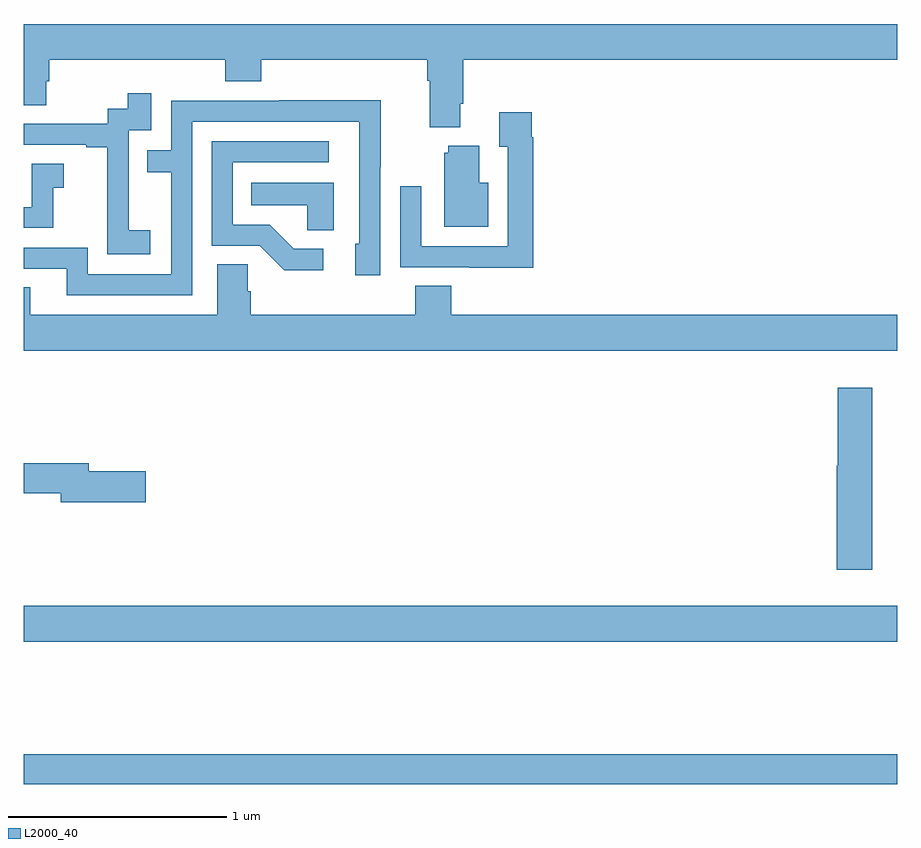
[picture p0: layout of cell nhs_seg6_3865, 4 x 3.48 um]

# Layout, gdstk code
import gdstk
lib = gdstk.Library(unit=1e-6, precision=1e-09)
def R(c, l, rs):  # rectangles x0, y0, x1, y1
    for r in rs: c.add(gdstk.rectangle(r[:2], r[2:], *l))
def P(c, l, *ps):  # polygons
    for p in ps: c.add(gdstk.Polygon(p, *l))
L2000_40 = (2000, 40)

nhs_seg6_3865 = lib.new_cell('nhs_seg6_3865')
R(nhs_seg6_3865, L2000_40, [(339,948.016,343,948.152), (339,948.668,343,948.832)])
P(nhs_seg6_3865, L2000_40, [(339,951.124),(339.103,951.124),(339.103,951.234),(339.116,951.234),(339.116,951.332),(339.923,951.332),(339.923,951.233),(340.088,951.233),(340.088,951.332),(340.847,951.332),(340.847,951.236),(340.859,951.236),(340.859,951.023),(340.999,951.023),(340.999,951.13),(341.012,951.13),(341.012,951.332),(343,951.332),(343,951.496),(339,951.496)],
  [(339.58,950.551),(339.482,950.551),(339.482,950.78),(339.48,950.78),(339.48,951.009),(339.585,951.009),(339.585,951.178),(339.477,951.178),(339.477,951.108),(339.384,951.108),(339.384,951.039),(339,951.039),(339,950.943),(339.287,950.943),(339.287,950.931),(339.383,950.931),(339.383,950.647),(339.382,950.647),(339.382,950.441),(339.58,950.441)],
  [(339.771,951.048),(340.536,951.048),(340.536,950.49),(340.517,950.49),(340.517,950.346),(340.632,950.346),(340.632,950.839),(340.635,950.839),(340.635,951.146),(340.171,951.146),(340.171,951.144),(339.675,951.144),(339.675,950.919),(339.565,950.919),(339.565,950.818),(339.675,950.818),(339.675,950.349),(339.294,950.349),(339.294,950.472),(339,950.472),(339,950.376),(339.197,950.376),(339.197,950.253),(339.771,950.253)],
  [(341.333,950.978),(341.326,950.978),(341.326,951.091),(341.177,951.091),(341.177,950.935),(341.217,950.935),(341.217,950.478),(340.821,950.478),(340.821,950.752),(340.725,950.752),(340.725,950.382),(341.041,950.382),(341.041,950.381),(341.333,950.381)],
  [(340.372,950.466),(340.237,950.466),(340.126,950.577),(339.957,950.577),(339.957,950.862),(340.396,950.862),(340.396,950.958),(339.861,950.958),(339.861,950.481),(340.08,950.481),(340.193,950.369),(340.372,950.369)],
  [(341.128,950.77),(341.086,950.77),(341.086,950.938),(340.943,950.938),(340.943,950.907),(340.925,950.907),(340.925,950.567),(341.128,950.567)],
  [(339.135,950.747),(339.184,950.747),(339.184,950.857),(339.036,950.857),(339.036,950.658),(339,950.658),(339,950.562),(339.135,950.562)],
  [(340.42,950.77),(340.042,950.77),(340.042,950.666),(340.299,950.666),(340.299,950.551),(340.42,950.551)],
  [(343,950.164),(340.958,950.164),(340.958,950.297),(340.793,950.297),(340.793,950.164),(340.04,950.164),(340.04,950.273),(340.026,950.273),(340.026,950.396),(339.887,950.396),(339.887,950.164),(339.031,950.164),(339.031,950.291),(339,950.291),(339,950),(343,950)],
  [(342.886,949.831),(342.728,949.831),(342.728,949.473),(342.722,949.473),(342.722,948.996),(342.886,948.996)],
  [(339.559,949.448),(339.298,949.448),(339.298,949.484),(339,949.484),(339,949.348),(339.17,949.348),(339.17,949.306),(339.559,949.306)])

lib.write_gds('nhs_seg6_3865.gds')
